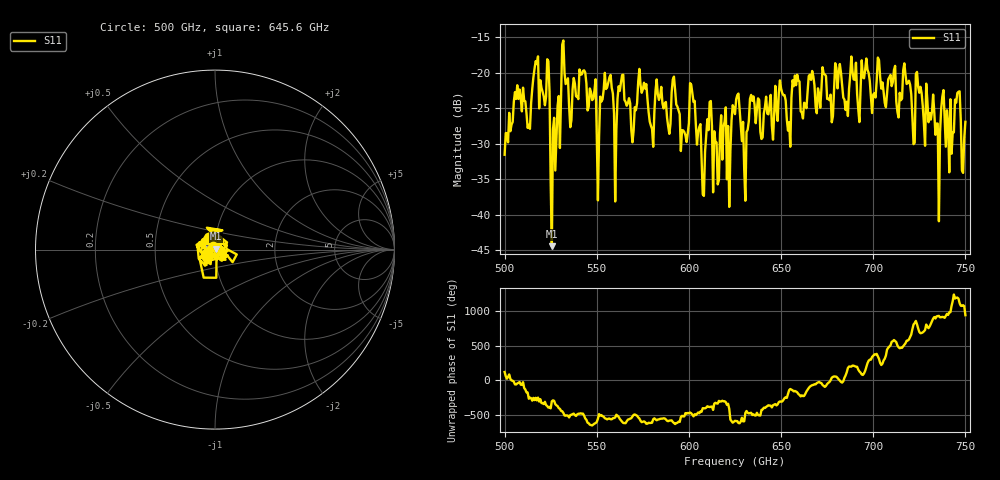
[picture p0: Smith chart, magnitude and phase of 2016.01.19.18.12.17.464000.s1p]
!Created with skrf (http://scikit-rf.org).
# GHz S RI R 50.0
!freq ReS11 ImS11
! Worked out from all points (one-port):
!   401 points, 500 GHz to 750 GHz, reference 50 ohm
!   lowest |S11| = -44.4 dB at 525.6 GHz (marker M1), VSWR 1.01, Z = 50.3 + j0.507 ohm
!   |S11| at or under -10 dB: start of sweep to end of sweep
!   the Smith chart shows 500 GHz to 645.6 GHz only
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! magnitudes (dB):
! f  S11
! 500 GHz  -31.5
! 506.9 GHz  -21.8
! 513.1 GHz  -27.3
! 516.9 GHz  -18.4
! 523.1 GHz  -18.1
! 525.6 GHz  -44.4
! 531.2 GHz  -16.1
! 542.5 GHz  -19.8
! 551.2 GHz  -29.0
! 553.1 GHz  -23.8
! 560 GHz  -38.1
! 562.5 GHz  -22.6
! 570 GHz  -28.1
! 593.8 GHz  -24.8
! 598.1 GHz  -28.8
! 601.9 GHz  -22.9
! 608.1 GHz  -37.3
! 610.6 GHz  -28.1
! 621.9 GHz  -38.9
! 625 GHz  -25.8
! 630 GHz  -33.6
! 634.4 GHz  -24.0
! 656.2 GHz  -21.1
! 687.5 GHz  -20.4
! 718.8 GHz  -21.4
! 735 GHz  -27.2
! 745.6 GHz  -22.9
! 750 GHz  -26.9
